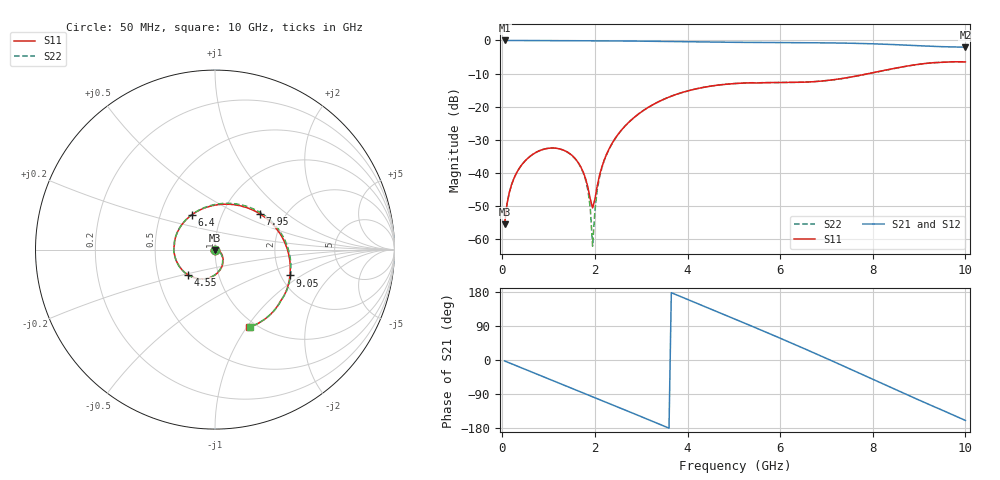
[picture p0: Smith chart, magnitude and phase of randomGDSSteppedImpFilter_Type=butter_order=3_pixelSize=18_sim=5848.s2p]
! freq	dB(S11)	phase(S11)	dB(S12)	phase(S12)
!  dB(S21)	phase(S21)	dB(S22)	phase(S22)
!S-par simulation data
#  GHz  S  DB  R 50
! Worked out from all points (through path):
!   200 points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, 50 MHz to 10 GHz, reference 50 ohm
!   highest |S21| = -0.01 dB at 50 MHz (marker M1); lowest = -2.0 dB at 10 GHz (marker M2)
!   group delay of S21, straight-line fit = 144 ps
!   lowest |S11| = -55.6 dB at 50 MHz (marker M3), VSWR 1.00, Z = 50 - j0.165 ohm
!   |S11| at or under -10 dB: start of sweep to 7.914 GHz
!   |S22| runs from -62.1 to -6.4 dB; largest |S21 - S12| = 0
!   S11 on the Smith chart (normalised r, x): 50 MHz: 1.00, -0.00; 4.55 GHz: 0.71, -0.21; 6.4 GHz: 0.72, +0.30; 7.95 GHz: 1.49, +0.66; 9.05 GHz: 2.24, -0.80; 10 GHz: 0.92, -1.03
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0.05  -55.57 -81.1  -0.01 -2.5  -0.01 -2.5  -55.56 -81.0
0.15  -46.01 -93.7  -0.01 -7.5  -0.01 -7.5  -46.00 -93.5
0.25  -41.70 -100.5  -0.02 -12.5  -0.02 -12.5  -41.70 -100.1
0.65  -34.48 -123.6  -0.04 -32.2  -0.04 -32.2  -34.47 -122.5
1.3  -33.01 -159.2  -0.07 -64.4  -0.07 -64.4  -33.02 -156.1
1.75  -39.82 168.1  -0.10 -86.8  -0.10 -86.8  -40.07 179.1
1.9  -47.90 130.4  -0.11 -94.2  -0.11 -94.2  -50.57 162.4
1.95  -50.58 86.6  -0.11 -96.7  -0.11 -96.7  -62.12 95.6
2.05  -43.94 17.1  -0.12 -101.7  -0.12 -101.7  -45.10 -5.1
2.3  -32.91 -16.1  -0.13 -114.2  -0.13 -114.2  -33.01 -22.9
2.75  -24.45 -43.7  -0.18 -136.9  -0.18 -136.9  -24.47 -46.6
3.4  -18.33 -78.4  -0.28 -169.7  -0.28 -169.7  -18.33 -79.6
4.55  -13.70 -137.8  -0.50 132.0  -0.50 132.0  -13.69 -137.3
5.05  -12.99 -163.8  -0.57 106.6  -0.57 106.6  -12.98 -162.5
5.7  -12.75 161.8  -0.62 73.2  -0.62 73.2  -12.73 164.3
6.4  -12.65 123.4  -0.67 36.4  -0.67 36.4  -12.65 127.3
6.7  -12.47 106.7  -0.69 20.4  -0.69 20.4  -12.47 111.1
7.3  -11.58 73.5  -0.79 -12.2  -0.79 -12.2  -11.59 78.2
7.95  -9.90 38.4  -1.00 -48.0  -1.00 -48.0  -9.91 42.4
8.35  -8.75 17.2  -1.19 -70.2  -1.19 -70.2  -8.76 20.6
9.05  -7.10 -19.0  -1.63 -108.5  -1.63 -108.5  -7.10 -16.9
10  -6.51 -66.1  -2.03 -159.5  -2.03 -159.5  -6.52 -65.5
